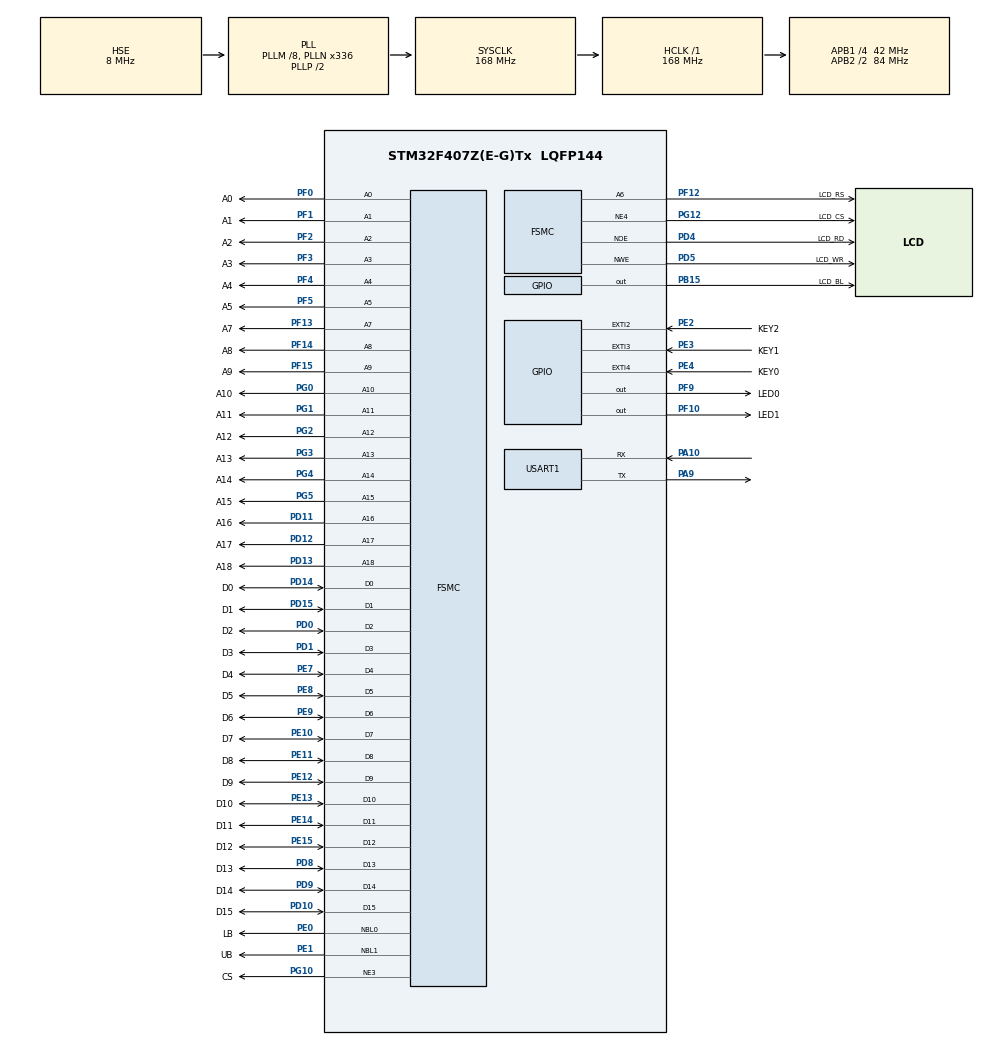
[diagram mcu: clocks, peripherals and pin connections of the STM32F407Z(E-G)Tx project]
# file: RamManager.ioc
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FSMC.AddressSetupTime1=2
FSMC.BusTurnAroundDuration1=0
FSMC.DataSetupTime1=8
FSMC.DataSetupTime2=60
FSMC.ExtendedAddressSetupTime2=9
FSMC.ExtendedDataSetupTime2=9
FSMC.ExtendedMode2=FSMC_EXTENDED_MODE_ENABLE
Mcu.Family=STM32F4
Mcu.Name=STM32F407Z(E-G)Tx
Mcu.Package=LQFP144
NVIC.EXTI2_IRQn=true\:3\:1\:true\:false\:true\:true\:true
NVIC.EXTI3_IRQn=true\:3\:1\:true\:false\:true\:true\:true
NVIC.EXTI4_IRQn=true\:3\:1\:true\:false\:true\:true\:true
NVIC.PriorityGroup=NVIC_PRIORITYGROUP_2
PA10.Mode=Asynchronous
PA10.Signal=USART1_RX
PA13.Mode=Serial_Wire
PA13.Signal=SYS_JTMS-SWDIO
PA14.Mode=Serial_Wire
PA14.Signal=SYS_JTCK-SWCLK
PA9.Mode=Asynchronous
PA9.Signal=USART1_TX
PB15.GPIO_Label=LCD_BL
PB15.GPIO_PuPd=GPIO_PULLUP
PB15.GPIO_Speed=GPIO_SPEED_FREQ_HIGH
PB15.PinState=GPIO_PIN_SET
PB15.Signal=GPIO_Output
PD0.GPIO_Label=D2
PD0.GPIO_PuPd=GPIO_PULLUP
PD0.Signal=FSMC_D2_DA2
PD1.GPIO_Label=D3
PD1.GPIO_PuPd=GPIO_PULLUP
PD1.Signal=FSMC_D3_DA3
PD10.GPIO_Label=D15
PD10.GPIO_PuPd=GPIO_PULLUP
PD10.Signal=FSMC_D15_DA15
PD11.GPIO_Label=A16
PD11.GPIO_PuPd=GPIO_PULLUP
PD11.Signal=FSMC_A16_CLE
PD12.GPIO_Label=A17
PD12.GPIO_PuPd=GPIO_PULLUP
PD12.Signal=FSMC_A17_ALE
PD13.GPIO_Label=A18
PD13.Signal=FSMC_A18
PD14.GPIO_Label=D0
PD14.GPIO_PuPd=GPIO_PULLUP
PD14.Signal=FSMC_D0_DA0
PD15.GPIO_Label=D1
PD15.GPIO_PuPd=GPIO_PULLUP
PD15.Signal=FSMC_D1_DA1
PD4.GPIO_Label=LCD_RD
PD4.GPIO_PuPd=GPIO_PULLUP
PD4.Signal=FSMC_NOE
PD5.GPIO_Label=LCD_WR
PD5.GPIO_PuPd=GPIO_PULLUP
PD5.Signal=FSMC_NWE
PD8.GPIO_Label=D13
PD8.GPIO_PuPd=GPIO_PULLUP
PD8.Signal=FSMC_D13_DA13
PD9.GPIO_Label=D14
PD9.GPIO_PuPd=GPIO_PULLUP
PD9.Signal=FSMC_D14_DA14
PE0.GPIO_Label=LB
PE0.GPIO_PuPd=GPIO_PULLUP
PE0.Signal=FSMC_NBL0
PE1.GPIO_Label=UB
PE1.GPIO_PuPd=GPIO_PULLUP
PE1.Signal=FSMC_NBL1
PE10.GPIO_Label=D7
PE10.GPIO_PuPd=GPIO_PULLUP
PE10.Signal=FSMC_D7_DA7
PE11.GPIO_Label=D8
PE11.GPIO_PuPd=GPIO_PULLUP
PE11.Signal=FSMC_D8_DA8
PE12.GPIO_Label=D9
PE12.GPIO_PuPd=GPIO_PULLUP
PE12.Signal=FSMC_D9_DA9
PE13.GPIO_Label=D10
PE13.GPIO_PuPd=GPIO_PULLUP
PE13.Signal=FSMC_D10_DA10
PE14.GPIO_Label=D11
PE14.GPIO_PuPd=GPIO_PULLUP
PE14.Signal=FSMC_D11_DA11
PE15.GPIO_Label=D12
PE15.GPIO_PuPd=GPIO_PULLUP
PE15.Signal=FSMC_D12_DA12
PE2.GPIO_Label=KEY2
PE2.GPIO_ModeDefaultEXTI=GPIO_MODE_IT_FALLING
PE2.GPIO_PuPd=GPIO_PULLUP
PE2.Signal=GPXTI2
PE3.GPIO_Label=KEY1
PE3.GPIO_ModeDefaultEXTI=GPIO_MODE_IT_FALLING
PE3.GPIO_PuPd=GPIO_PULLUP
PE3.Signal=GPXTI3
PE4.GPIO_Label=KEY0
PE4.GPIO_ModeDefaultEXTI=GPIO_MODE_IT_FALLING
PE4.GPIO_PuPd=GPIO_PULLUP
PE4.Signal=GPXTI4
PE7.GPIO_Label=D4
PE7.GPIO_PuPd=GPIO_PULLUP
PE7.Signal=FSMC_D4_DA4
PE8.GPIO_Label=D5
PE8.GPIO_PuPd=GPIO_PULLUP
PE8.Signal=FSMC_D5_DA5
PE9.GPIO_Label=D6
PE9.GPIO_PuPd=GPIO_PULLUP
PE9.Signal=FSMC_D6_DA6
PF0.GPIO_Label=A0
PF0.GPIO_PuPd=GPIO_PULLUP
PF0.Signal=FSMC_A0
PF1.GPIO_Label=A1
PF1.GPIO_PuPd=GPIO_PULLUP
PF1.Signal=FSMC_A1
PF10.GPIO_Label=LED1
PF10.GPIO_PuPd=GPIO_PULLUP
PF10.GPIO_Speed=GPIO_SPEED_FREQ_HIGH
PF10.PinState=GPIO_PIN_SET
PF10.Signal=GPIO_Output
PF12.GPIO_Label=LCD_RS
PF12.GPIO_PuPd=GPIO_PULLUP
PF12.Signal=FSMC_A6
PF13.GPIO_Label=A7
PF13.GPIO_PuPd=GPIO_PULLUP
PF13.Signal=FSMC_A7
PF14.GPIO_Label=A8
PF14.GPIO_PuPd=GPIO_PULLUP
PF14.Signal=FSMC_A8
PF15.GPIO_Label=A9
PF15.GPIO_PuPd=GPIO_PULLUP
PF15.Signal=FSMC_A9
PF2.GPIO_Label=A2
PF2.GPIO_PuPd=GPIO_PULLUP
PF2.Signal=FSMC_A2
PF3.GPIO_Label=A3
PF3.GPIO_PuPd=GPIO_PULLUP
PF3.Signal=FSMC_A3
PF4.GPIO_Label=A4
PF4.GPIO_PuPd=GPIO_PULLUP
PF4.Signal=FSMC_A4
PF5.GPIO_Label=A5
PF5.GPIO_PuPd=GPIO_PULLUP
PF5.Signal=FSMC_A5
PF9.GPIO_Label=LED0
PF9.GPIO_PuPd=GPIO_PULLUP
PF9.GPIO_Speed=GPIO_SPEED_FREQ_HIGH
PF9.PinState=GPIO_PIN_SET
PF9.Signal=GPIO_Output
PG0.GPIO_Label=A10
PG0.GPIO_PuPd=GPIO_PULLUP
PG0.Signal=FSMC_A10
PG1.GPIO_Label=A11
PG1.GPIO_PuPd=GPIO_PULLUP
PG1.Signal=FSMC_A11
PG10.GPIO_Label=CS
PG10.GPIO_PuPd=GPIO_PULLUP
PG10.Mode=NorPsramChipSelect3_1
PG10.Signal=FSMC_NE3
PG12.GPIO_Label=LCD_CS
PG12.GPIO_PuPd=GPIO_PULLUP
PG12.Mode=NorPsramChipSelect4_2
PG12.Signal=FSMC_NE4
PG2.GPIO_Label=A12
PG2.GPIO_PuPd=GPIO_PULLUP
PG2.Signal=FSMC_A12
PG3.GPIO_Label=A13
PG3.GPIO_PuPd=GPIO_PULLUP
PG3.Signal=FSMC_A13
PG4.GPIO_Label=A14
PG4.GPIO_PuPd=GPIO_PULLUP
PG4.Signal=FSMC_A14
PG5.GPIO_Label=A15
PG5.GPIO_PuPd=GPIO_PULLUP
PG5.Signal=FSMC_A15
PH0-OSC_IN.Mode=HSE-External-Oscillator
PH0-OSC_IN.Signal=RCC_OSC_IN
PH1-OSC_OUT.Mode=HSE-External-Oscillator
PH1-OSC_OUT.Signal=RCC_OSC_OUT
ProjectManager.HeapSize=0x200
ProjectManager.StackSize=0x400
ProjectManager.TargetToolchain=MDK-ARM V5
RCC.48MHZClocksFreq_Value=84000000
RCC.AHBFreq_Value=168000000
RCC.APB1CLKDivider=RCC_HCLK_DIV4
RCC.APB1Freq_Value=42000000
RCC.APB1TimFreq_Value=84000000
RCC.APB2CLKDivider=RCC_HCLK_DIV2
RCC.APB2Freq_Value=84000000
RCC.APB2TimFreq_Value=168000000
RCC.CortexFreq_Value=168000000
RCC.HCLKFreq_Value=168000000
RCC.HSE_VALUE=8000000
RCC.HSI_VALUE=16000000
RCC.LSE_VALUE=32768
RCC.PLLM=8
RCC.PLLN=336
RCC.PLLSourceVirtual=RCC_PLLSOURCE_HSE
RCC.SYSCLKFreq_VALUE=168000000
RCC.SYSCLKSource=RCC_SYSCLKSOURCE_PLLCLK
RCC.VCOOutputFreq_Value=336000000
SH.FSMC_A0.0=FSMC_A0,19b-a1
SH.FSMC_A1.0=FSMC_A1,19b-a1
SH.FSMC_A10.0=FSMC_A10,19b-a1
SH.FSMC_A11.0=FSMC_A11,19b-a1
SH.FSMC_A12.0=FSMC_A12,19b-a1
SH.FSMC_A13.0=FSMC_A13,19b-a1
SH.FSMC_A14.0=FSMC_A14,19b-a1
SH.FSMC_A15.0=FSMC_A15,19b-a1
SH.FSMC_A16_CLE.0=FSMC_A16,19b-a1
SH.FSMC_A17_ALE.0=FSMC_A17,19b-a1
SH.FSMC_A18.0=FSMC_A18,19b-a1
SH.FSMC_A2.0=FSMC_A2,19b-a1
SH.FSMC_A3.0=FSMC_A3,19b-a1
SH.FSMC_A4.0=FSMC_A4,19b-a1
SH.FSMC_A5.0=FSMC_A5,19b-a1
SH.FSMC_A6.0=FSMC_A6,A6_2
SH.FSMC_A6.1=FSMC_A6,19b-a1
SH.FSMC_A7.0=FSMC_A7,19b-a1
SH.FSMC_A8.0=FSMC_A8,19b-a1
SH.FSMC_A9.0=FSMC_A9,19b-a1
SH.FSMC_D0_DA0.0=FSMC_D0,16b-d2
SH.FSMC_D0_DA0.1=FSMC_D0,16b-d1
SH.FSMC_D10_DA10.0=FSMC_D10,16b-d2
SH.FSMC_D10_DA10.1=FSMC_D10,16b-d1
SH.FSMC_D11_DA11.0=FSMC_D11,16b-d2
SH.FSMC_D11_DA11.1=FSMC_D11,16b-d1
SH.FSMC_D12_DA12.0=FSMC_D12,16b-d2
SH.FSMC_D12_DA12.1=FSMC_D12,16b-d1
SH.FSMC_D13_DA13.0=FSMC_D13,16b-d2
SH.FSMC_D13_DA13.1=FSMC_D13,16b-d1
SH.FSMC_D14_DA14.0=FSMC_D14,16b-d2
SH.FSMC_D14_DA14.1=FSMC_D14,16b-d1
SH.FSMC_D15_DA15.0=FSMC_D15,16b-d2
SH.FSMC_D15_DA15.1=FSMC_D15,16b-d1
SH.FSMC_D1_DA1.0=FSMC_D1,16b-d2
SH.FSMC_D1_DA1.1=FSMC_D1,16b-d1
SH.FSMC_D2_DA2.0=FSMC_D2,16b-d2
SH.FSMC_D2_DA2.1=FSMC_D2,16b-d1
SH.FSMC_D3_DA3.0=FSMC_D3,16b-d2
SH.FSMC_D3_DA3.1=FSMC_D3,16b-d1
SH.FSMC_D4_DA4.0=FSMC_D4,16b-d2
SH.FSMC_D4_DA4.1=FSMC_D4,16b-d1
SH.FSMC_D5_DA5.0=FSMC_D5,16b-d2
SH.FSMC_D5_DA5.1=FSMC_D5,16b-d1
SH.FSMC_D6_DA6.0=FSMC_D6,16b-d2
SH.FSMC_D6_DA6.1=FSMC_D6,16b-d1
SH.FSMC_D7_DA7.0=FSMC_D7,16b-d2
SH.FSMC_D7_DA7.1=FSMC_D7,16b-d1
SH.FSMC_D8_DA8.0=FSMC_D8,16b-d2
SH.FSMC_D8_DA8.1=FSMC_D8,16b-d1
SH.FSMC_D9_DA9.0=FSMC_D9,16b-d2
SH.FSMC_D9_DA9.1=FSMC_D9,16b-d1
SH.FSMC_NBL0.0=FSMC_NBL0,2ByteEnable1
SH.FSMC_NBL1.0=FSMC_NBL1,2ByteEnable1
SH.FSMC_NOE.0=FSMC_NOE,Lcd2
SH.FSMC_NOE.1=FSMC_NOE,Sram1
SH.FSMC_NWE.0=FSMC_NWE,Lcd2
SH.FSMC_NWE.1=FSMC_NWE,Sram1
USART1.VirtualMode=VM_ASYNC
board=custom

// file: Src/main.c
/* USER CODE BEGIN Header */
/**
  ******************************************************************************
  * @file           : main.c
  * @brief          : Main program body
  ******************************************************************************
  * @attention
  *
  * <h2><center>&copy; Copyright (c) 2024 STMicroelectronics.
  * All rights reserved.</center></h2>
  *
  * This software component is licensed by ST under BSD 3-Clause license,
  * the "License"; You may not use this file except in compliance with the
  * License. You may obtain a copy of the License at:
  *                        opensource.org/licenses/BSD-3-Clause
  *
  ******************************************************************************
  */
/* USER CODE END Header */

#include "main.h"
#include "usart.h"
#include "gpio.h"
#include "fsmc.h"

/* USER CODE BEGIN Includes */
#include "delay.h"
#include "lcd.h"
#include "exti.h"
#include "sram.h"
#include "mymalloc.h"  //my_mem_init
/* USER CODE END Includes */

/* USER CODE BEGIN PV */
uint8_t lcd_id[12];
uint16_t colors[12] = {WHITE, BLACK, BLUE, RED, MAGENTA, GREEN, CYAN, YELLOW, BRRED, GRAY, LGRAY, BROWN};uint8_t color_index = 0;
uint8_t cur_brightness;
uint8_t* str[23];

uint8_t paddr[20];                  /* 存放P Addr:+p地址的ASCII值 */
uint16_t memused = 0;
uint8_t i = 0;
uint8_t *p = 0;
uint8_t *tp = 0;
/* USER CODE END PV */

void SystemClock_Config(void);

int main(void)
{

  /* MCU Configuration--------------------------------------------------------*/

  /* Reset of all peripherals, Initializes the Flash interface and the Systick. */
  HAL_Init();

  /* Configure the system clock */
  SystemClock_Config();

  /* Initialize all configured peripherals */
  MX_GPIO_Init();
  MX_FSMC_Init();
  MX_USART1_UART_Init();
  /* USER CODE BEGIN 2 */
	delay_init(168);                        /* 延时初始化 */
	lcd_init();                             /* 初始化LCD */
  g_point_color = RED;
  sprintf((char *)lcd_id, "LCD ID:%04X", lcddev.id);  /* 将LCD ID打印到lcd_id数组 */
	HAL_GPIO_WritePin(LED1_GPIO_Port, LED1_Pin, GPIO_PIN_RESET);  //LED1亮
	lcd_set_backlight_by_pwm(0xFF); // 设置占空比为255,开启背光最亮

	cur_brightness = lcd_get_backlight_by_pwm(); //获取当前背光值
	sprintf((char*)str, "current brightness:%3u", cur_brightness);

	sram_init();                        /* SRAM初始化 */

	my_mem_init(SRAMIN);                /* 初始化内部SRAM内存池 */
	my_mem_init(SRAMEX);                /* 初始化外部SRAM内存池 */
	my_mem_init(SRAMCCM);               /* 初始化内部CCM内存池 */

	lcd_show_string(10, 40, 240, 32, 32, "STM32", RED);
	lcd_show_string(10, 80, 240, 24, 24, "TFTLCD TEST", RED);
	lcd_show_string(10, 110, 240, 16, 16, "ATOM@ALIENTEK", RED);
	lcd_show_string(10, 130, 240, 16, 16, (char *)lcd_id, RED); /* 显示LCD ID */
	lcd_show_string(10, 150, 240, 16, 16, (char *)str, RED); /* 显示亮度 */

	lcd_show_string(10, 170, 200, 16, 16, "KEY0:SRAM malloc!", RED);
	lcd_show_string(10, 190, 200, 16, 16, "KEY1:SRAM free!", RED);
	lcd_show_string(10, 210, 200, 16, 16, "KEY2:Change SRAM!", RED);

	lcd_show_string(60, 226, 200, 16, 16, " SRAMIN ", BLUE);

	lcd_show_string(30, 242, 200, 16, 16, "SRAMIN   USED:", BLUE);
	lcd_show_string(30, 258, 200, 16, 16, "SRAMCCM  USED:", BLUE);
	lcd_show_string(30, 274, 200, 16, 16, "SRAMEX   USED:", BLUE);

  /* USER CODE END 2 */

  /* Infinite loop */
  /* USER CODE BEGIN WHILE */
  while (1)
  {
		if (tp != p){
				tp = p;
				sprintf((char *)paddr, "P Addr:0X%08X", (uint32_t)tp);
				lcd_show_string(30, 314, 209, 16, 16, (char *)paddr, BLUE); /* 显示p的地址 */

				if (p){
						lcd_show_string(30, 294, 280, 16, 16, (char *)p, BLUE); /* 显示P的内容 */
				}	else {
						lcd_fill(30, 294, 209, 296, WHITE);                     /* p=0,清除显示 */
				}
		}

		//delay_ms(10);
		HAL_Delay(10);
		i++;

		if ((i % 20) == 0) {
				memused = my_mem_perused(SRAMIN);
				sprintf((char *)paddr, "%d.%01d%%", memused / 10, memused % 10);
				lcd_show_string(30 + 112, 242, 200, 16, 16, (char *)paddr, BLUE);   /* 显示内部内存使用率 */

				memused = my_mem_perused(SRAMCCM);
				sprintf((char *)paddr, "%d.%01d%%", memused / 10, memused % 10);
				lcd_show_string(30 + 112, 258, 200, 16, 16, (char *)paddr, BLUE);   /* 显示CCM内存使用率 */

				memused = my_mem_perused(SRAMEX);
				sprintf((char *)paddr, "%d.%01d%%", memused / 10, memused % 10);
				lcd_show_string(30 + 112, 274, 200, 16, 16, (char *)paddr, BLUE);   /* 显示外部内存使用率 */

				HAL_GPIO_TogglePin(LED0_GPIO_Port, LED0_Pin); /* LED0闪烁 */
				HAL_Delay(300);
		}
    /* USER CODE END WHILE */

  }
}

void SystemClock_Config(void)
{
  RCC_OscInitTypeDef RCC_OscInitStruct = {0};
  RCC_ClkInitTypeDef RCC_ClkInitStruct = {0};

  /** Configure the main internal regulator output voltage
  */
  __HAL_RCC_PWR_CLK_ENABLE();
  __HAL_PWR_VOLTAGESCALING_CONFIG(PWR_REGULATOR_VOLTAGE_SCALE1);
  /** Initializes the CPU, AHB and APB busses clocks
  */
  RCC_OscInitStruct.OscillatorType = RCC_OSCILLATORTYPE_HSE;
  RCC_OscInitStruct.HSEState = RCC_HSE_ON;
  RCC_OscInitStruct.PLL.PLLState = RCC_PLL_ON;
  RCC_OscInitStruct.PLL.PLLSource = RCC_PLLSOURCE_HSE;
  RCC_OscInitStruct.PLL.PLLM = 8;
  RCC_OscInitStruct.PLL.PLLN = 336;
  RCC_OscInitStruct.PLL.PLLP = RCC_PLLP_DIV2;
  RCC_OscInitStruct.PLL.PLLQ = 4;
  if (HAL_RCC_OscConfig(&RCC_OscInitStruct) != HAL_OK)
  {
    Error_Handler();
  }
  /** Initializes the CPU, AHB and APB busses clocks
  */
  RCC_ClkInitStruct.ClockType = RCC_CLOCKTYPE_HCLK|RCC_CLOCKTYPE_SYSCLK
                              |RCC_CLOCKTYPE_PCLK1|RCC_CLOCKTYPE_PCLK2;
  RCC_ClkInitStruct.SYSCLKSource = RCC_SYSCLKSOURCE_PLLCLK;
  RCC_ClkInitStruct.AHBCLKDivider = RCC_SYSCLK_DIV1;
  RCC_ClkInitStruct.APB1CLKDivider = RCC_HCLK_DIV4;
  RCC_ClkInitStruct.APB2CLKDivider = RCC_HCLK_DIV2;

  if (HAL_RCC_ClockConfig(&RCC_ClkInitStruct, FLASH_LATENCY_5) != HAL_OK)
  {
    Error_Handler();
  }
}

void Error_Handler(void)
{
}

/************************ (C) COPYRIGHT STMicroelectronics *****END OF FILE****/
